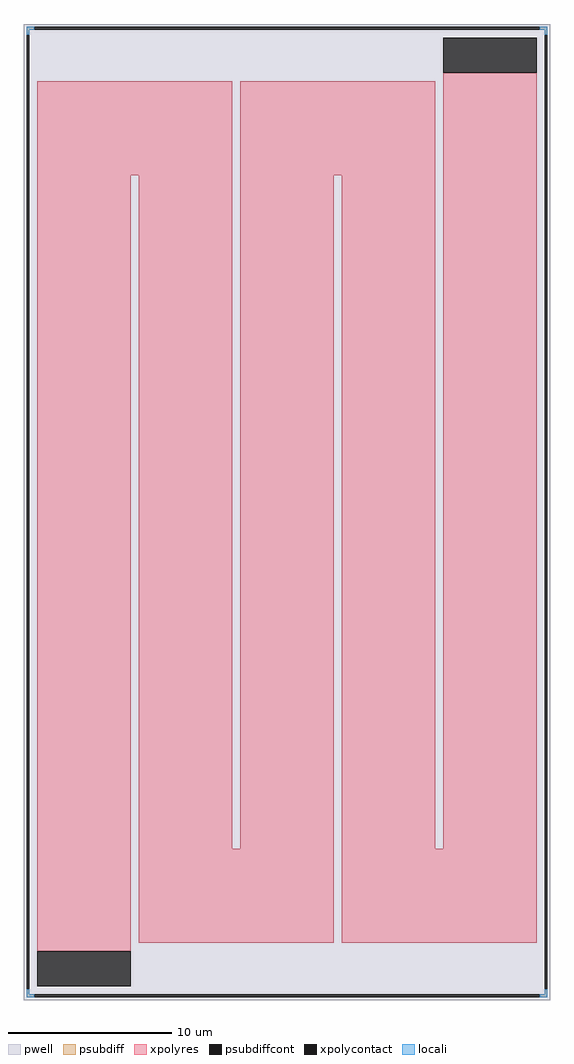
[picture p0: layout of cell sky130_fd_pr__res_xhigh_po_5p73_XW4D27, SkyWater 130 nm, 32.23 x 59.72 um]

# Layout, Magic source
magic
tech sky130A
magscale 1 2
<< pwell >>
rect -3223 -5972 3223 5972
<< psubdiff >>
rect -3187 5902 -3091 5936
rect 3091 5902 3187 5936
rect -3187 5840 -3153 5902
rect 3153 5840 3187 5902
rect -3187 -5902 -3153 -5840
rect 3153 -5902 3187 -5840
rect -3187 -5936 -3091 -5902
rect 3091 -5936 3187 -5902
<< psubdiffcont >>
rect -3091 5902 3091 5936
rect -3187 -5840 -3153 5840
rect 3153 -5840 3187 5840
rect -3091 -5936 3091 -5902
<< xpolycontact >>
rect 1911 5374 3057 5806
rect -3057 -5806 -1911 -5374
<< xpolyres >>
rect -3057 4124 -669 5270
rect -3057 -5374 -1911 4124
rect -1815 -4124 -669 4124
rect -573 4124 1815 5270
rect -573 -4124 573 4124
rect -1815 -5270 573 -4124
rect 669 -4124 1815 4124
rect 1911 -4124 3057 5374
rect 669 -5270 3057 -4124
<< locali >>
rect -3187 5902 -3091 5936
rect 3091 5902 3187 5936
rect -3187 5840 -3153 5902
rect 3153 5840 3187 5902
rect -3187 -5902 -3153 -5840
rect 3153 -5902 3187 -5840
rect -3187 -5936 -3091 -5902
rect 3091 -5936 3187 -5902
<< properties >>
string FIXED_BBOX -3170 -5919 3170 5919
string gencell sky130_fd_pr__res_xhigh_po_5p73
string library sky130
string parameters w 5.73 l 52.7 m 1 nx 5 wmin 5.730 lmin 0.50 rho 2000 val 100.037k dummy 0 dw 0.0 term 188.2 sterm 0.0 caplen 0 wmax 5.730 guard 1 glc 1 grc 1 gtc 1 gbc 1 compatible {sky130_fd_pr__res_xhigh_po_0p35  sky130_fd_pr__res_xhigh_po_0p69 sky130_fd_pr__res_xhigh_po_1p41  sky130_fd_pr__res_xhigh_po_2p85 sky130_fd_pr__res_xhigh_po_5p73} snake 1 full_metal 1 n_guard 0 hv_guard 0 vias 1 viagb 0 viagt 0 viagl 0 viagr 0
<< end >>
